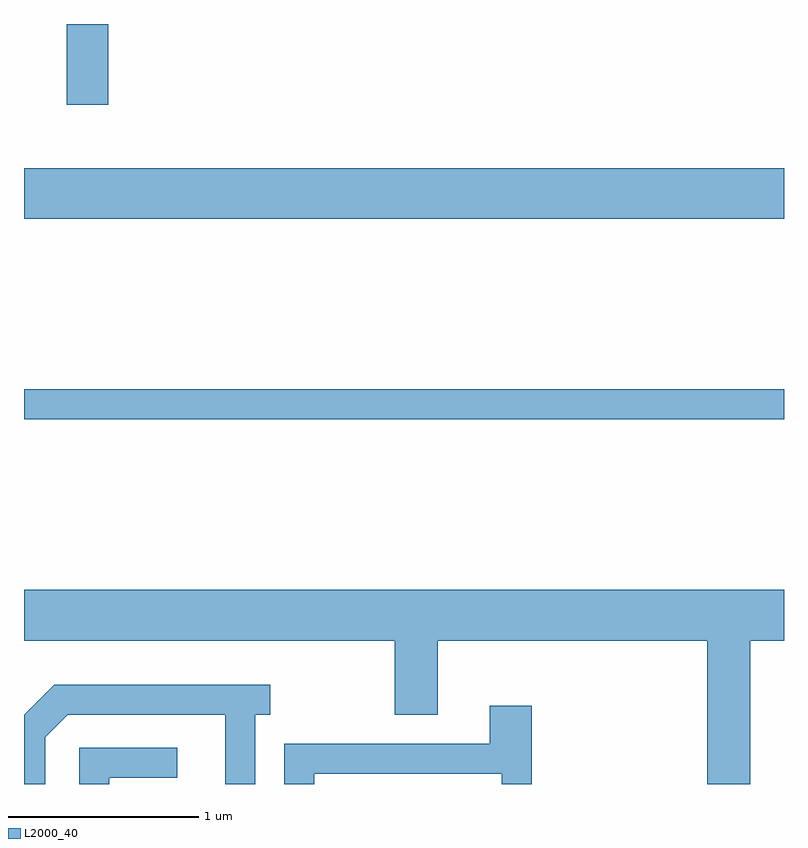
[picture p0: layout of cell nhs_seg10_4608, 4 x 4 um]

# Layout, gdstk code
import gdstk
lib = gdstk.Library(unit=1e-6, precision=1e-09)
def R(c, l, rs):  # rectangles x0, y0, x1, y1
    for r in rs: c.add(gdstk.rectangle(r[:2], r[2:], *l))
def P(c, l, *ps):  # polygons
    for p in ps: c.add(gdstk.Polygon(p, *l))
L2000_40 = (2000, 40)

nhs_seg10_4608 = lib.new_cell('nhs_seg10_4608')
R(nhs_seg10_4608, L2000_40, [(321.611,2088.441,325.611,2088.599), (321.611,2089.496,325.611,2089.764), (321.836,2090.096,322.054,2090.522)])
P(nhs_seg10_4608, L2000_40, [(325.434,2087.276),(325.611,2087.276),(325.611,2087.544),(321.611,2087.544),(321.611,2087.276),(323.561,2087.276),(323.561,2086.886),(323.789,2086.886),(323.789,2087.276),(325.206,2087.276),(325.206,2086.522),(325.434,2086.522)],
  [(321.724,2086.769),(321.842,2086.886),(322.671,2086.886),(322.671,2086.522),(322.829,2086.522),(322.829,2086.886),(322.908,2086.886),(322.908,2087.044),(321.769,2087.044),(321.611,2086.887),(321.611,2086.522),(321.724,2086.522)],
  [(323.139,2086.576),(324.126,2086.576),(324.126,2086.522),(324.284,2086.522),(324.284,2086.934),(324.061,2086.934),(324.061,2086.734),(322.981,2086.734),(322.981,2086.522),(323.139,2086.522)],
  [(322.059,2086.556),(322.418,2086.556),(322.418,2086.714),(321.901,2086.714),(321.901,2086.522),(322.059,2086.522)])

lib.write_gds('nhs_seg10_4608.gds')
